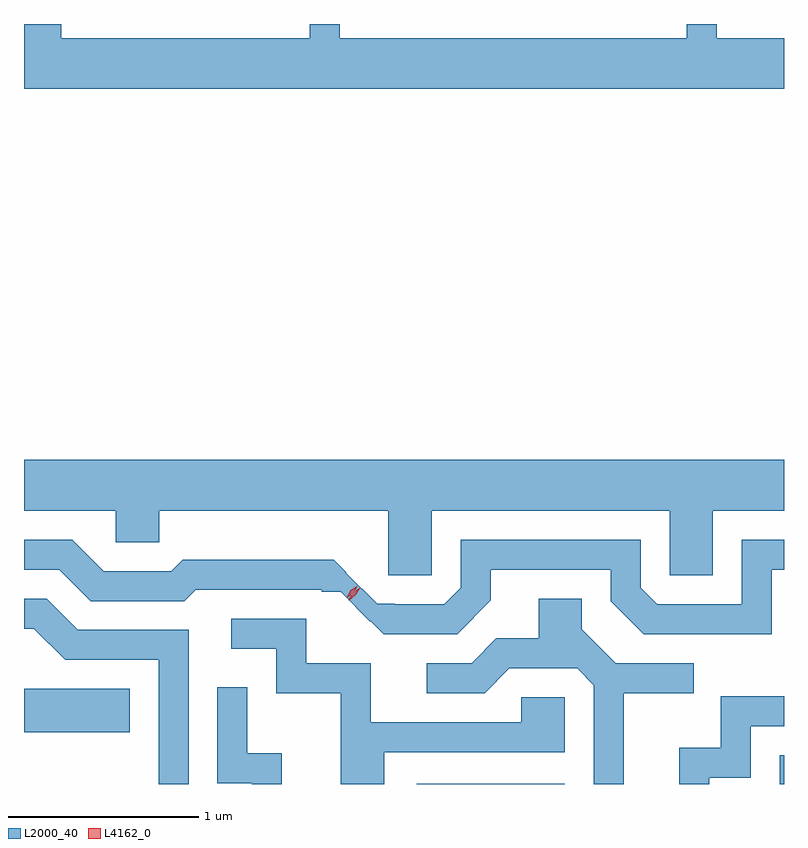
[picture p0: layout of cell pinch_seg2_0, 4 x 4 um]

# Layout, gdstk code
import gdstk
lib = gdstk.Library(unit=1e-6, precision=1e-09)
def R(c, l, rs):  # rectangles x0, y0, x1, y1
    for r in rs: c.add(gdstk.rectangle(r[:2], r[2:], *l))
def P(c, l, *ps):  # polygons
    for p in ps: c.add(gdstk.Polygon(p, *l))
L2000_40 = (2000, 40)
L4162_0 = (4162, 0)

pinch_seg2_0 = lib.new_cell('pinch_seg2_0')
R(pinch_seg2_0, L2000_40, [(1907.231,1002.478,1908.009,1002.479), (1909.141,1002.478,1909.163,1002.629), (1905.163,1002.751,1905.719,1002.979)])
P(pinch_seg2_0, L2000_40, [(1909.163,1006.404),(1908.809,1006.404),(1908.809,1006.478),(1908.651,1006.478),(1908.651,1006.404),(1906.824,1006.404),(1906.824,1006.478),(1906.666,1006.478),(1906.666,1006.404),(1905.359,1006.404),(1905.359,1006.478),(1905.163,1006.478),(1905.163,1006.136),(1909.163,1006.136)],
  [(1907.309,1003.916),(1908.561,1003.916),(1908.561,1003.576),(1908.789,1003.576),(1908.789,1003.916),(1909.163,1003.916),(1909.163,1004.184),(1905.163,1004.184),(1905.163,1003.916),(1905.646,1003.916),(1905.646,1003.751),(1905.874,1003.751),(1905.874,1003.916),(1907.081,1003.916),(1907.081,1003.576),(1907.309,1003.576)],
  [(1907.619,1003.444),(1907.619,1003.606),(1908.251,1003.606),(1908.251,1003.439),(1908.424,1003.266),(1909.099,1003.266),(1909.099,1003.606),(1909.163,1003.606),(1909.163,1003.764),(1908.941,1003.764),(1908.941,1003.424),(1908.497,1003.424),(1908.409,1003.512),(1908.409,1003.764),(1907.461,1003.764),(1907.461,1003.512),(1907.374,1003.424),(1907.115,1003.424),(1907.115,1003.426),(1907.021,1003.426),(1906.857,1003.59),(1906.859,1003.592),(1906.792,1003.659),(1905.999,1003.659),(1905.939,1003.599),(1905.582,1003.599),(1905.417,1003.764),(1905.163,1003.764),(1905.163,1003.606),(1905.349,1003.606),(1905.514,1003.441),(1906.007,1003.441),(1906.067,1003.501),(1906.729,1003.501),(1906.729,1003.49),(1906.829,1003.49),(1906.986,1003.333),(1906.987,1003.335),(1907.056,1003.266),(1907.442,1003.266)],
  [(1906.029,1003.289),(1905.447,1003.289),(1905.282,1003.454),(1905.163,1003.454),(1905.163,1003.296),(1905.214,1003.296),(1905.379,1003.131),(1905.871,1003.131),(1905.871,1002.478),(1906.029,1002.478)],
  [(1908.319,1002.956),(1908.688,1002.956),(1908.688,1003.114),(1908.277,1003.114),(1908.099,1003.292),(1908.099,1003.454),(1907.871,1003.454),(1907.871,1003.244),(1907.649,1003.244),(1907.519,1003.114),(1907.283,1003.114),(1907.283,1002.956),(1907.587,1002.956),(1907.717,1003.086),(1908.074,1003.086),(1908.161,1002.999),(1908.161,1002.478),(1908.319,1002.478)],
  [(1907.059,1002.646),(1908.009,1002.646),(1908.009,1002.934),(1907.781,1002.934),(1907.781,1002.804),(1906.989,1002.804),(1906.989,1003.114),(1906.649,1003.114),(1906.649,1003.349),(1906.253,1003.349),(1906.253,1003.191),(1906.491,1003.191),(1906.491,1002.956),(1906.831,1002.956),(1906.831,1002.478),(1907.059,1002.478)],
  [(1906.519,1002.639),(1906.339,1002.639),(1906.339,1002.988),(1906.181,1002.988),(1906.181,1002.481),(1906.361,1002.481),(1906.361,1002.478),(1906.519,1002.478)],
  [(1908.769,1002.511),(1908.989,1002.511),(1908.989,1002.781),(1909.163,1002.781),(1909.163,1002.939),(1908.831,1002.939),(1908.831,1002.669),(1908.611,1002.669),(1908.611,1002.478),(1908.769,1002.478)])
P(pinch_seg2_0, L4162_0, [(1906.873,1003.446),(1906.873,1003.447),(1906.895,1003.486),(1906.932,1003.512),(1906.932,1003.512),(1906.932,1003.512),(1906.91,1003.473),(1906.874,1003.446)],
  [(1906.865,1003.462),(1906.865,1003.463),(1906.883,1003.497),(1906.915,1003.519),(1906.916,1003.519),(1906.916,1003.518),(1906.898,1003.484),(1906.866,1003.462)])

lib.write_gds('pinch_seg2_0.gds')
